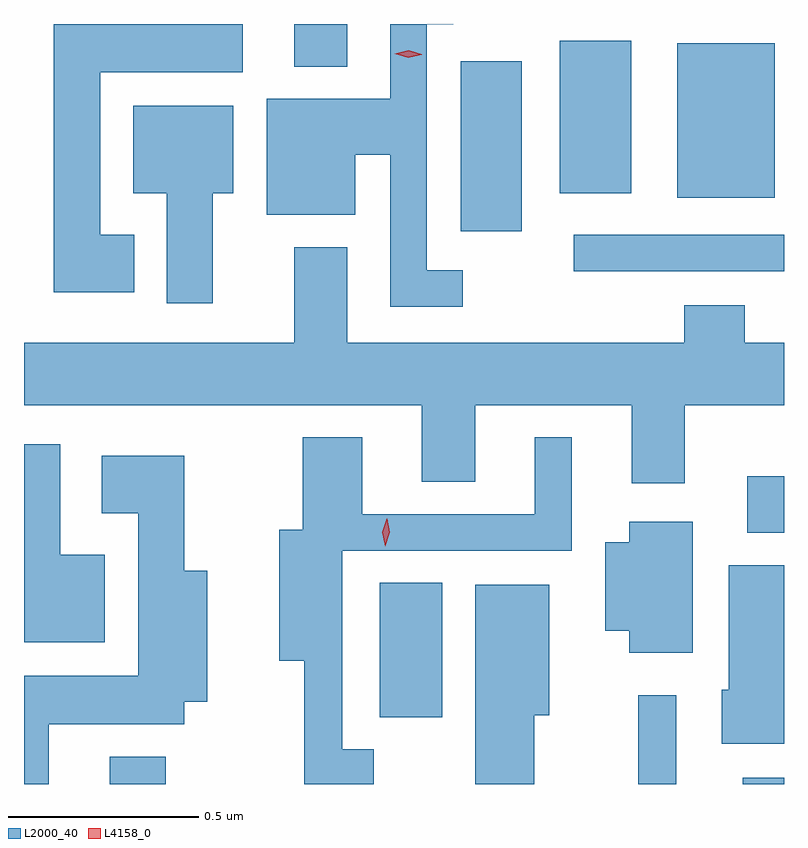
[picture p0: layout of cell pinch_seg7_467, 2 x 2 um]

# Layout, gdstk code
import gdstk
lib = gdstk.Library(unit=1e-6, precision=1e-09)
def R(c, l, rs):  # rectangles x0, y0, x1, y1
    for r in rs: c.add(gdstk.rectangle(r[:2], r[2:], *l))
def P(c, l, *ps):  # polygons
    for p in ps: c.add(gdstk.Polygon(p, *l))
L2000_40 = (2000, 40)
L4158_0 = (4158, 0)

pinch_seg7_467 = lib.new_cell('pinch_seg7_467')
R(pinch_seg7_467, L2000_40, [(264.077,1055.563,264.225,1055.635), (265.468,1055.563,265.569,1055.797), (265.743,1055.563,265.852,1055.58), (264.788,1055.739,264.952,1056.092), (265.755,1056.224,265.852,1056.373), (265.299,1056.912,265.852,1057.008), (265.001,1057.017,265.162,1057.465), (265.571,1057.106,265.828,1057.513), (265.262,1057.118,265.45,1057.519), (264.563,1057.451,264.703,1057.563)])
P(pinch_seg7_467, L2000_40, [(265.006,1056.915),(264.912,1056.915),(264.912,1057.562),(264.982,1057.562),(264.982,1057.563),(264.816,1057.563),(264.816,1057.366),(264.491,1057.366),(264.491,1057.061),(264.724,1057.061),(264.724,1057.219),(264.816,1057.219),(264.816,1056.819),(265.006,1056.819)],
  [(264.142,1057.009),(264.052,1057.009),(264.052,1057.436),(264.427,1057.436),(264.427,1057.563),(263.93,1057.563),(263.93,1056.857),(264.142,1056.857)],
  [(264.349,1057.118),(264.403,1057.118),(264.403,1057.348),(264.14,1057.348),(264.14,1057.118),(264.227,1057.118),(264.227,1056.828),(264.349,1056.828)],
  [(265.591,1056.56),(265.852,1056.56),(265.852,1056.724),(265.749,1056.724),(265.749,1056.823),(265.589,1056.823),(265.589,1056.724),(264.703,1056.724),(264.703,1056.976),(264.563,1056.976),(264.563,1056.724),(263.852,1056.724),(263.852,1056.56),(264.899,1056.56),(264.899,1056.358),(265.039,1056.358),(265.039,1056.56),(265.451,1056.56),(265.451,1056.354),(265.591,1056.354)],
  [(264.772,1055.655),(264.69,1055.655),(264.69,1056.177),(265.294,1056.177),(265.294,1056.475),(265.196,1056.475),(265.196,1056.273),(264.742,1056.273),(264.742,1056.475),(264.586,1056.475),(264.586,1056.232),(264.524,1056.232),(264.524,1055.888),(264.589,1055.888),(264.589,1055.563),(264.772,1055.563)],
  [(264.064,1056.166),(263.947,1056.166),(263.947,1056.457),(263.852,1056.457),(263.852,1055.936),(264.064,1055.936)],
  [(263.917,1055.72),(264.274,1055.72),(264.274,1055.78),(264.334,1055.78),(264.334,1056.124),(264.274,1056.124),(264.274,1056.427),(264.057,1056.427),(264.057,1056.275),(264.152,1056.275),(264.152,1055.848),(263.852,1055.848),(263.852,1055.563),(263.917,1055.563)],
  [(265.612,1056.253),(265.445,1056.253),(265.445,1056.199),(265.382,1056.199),(265.382,1055.966),(265.445,1055.966),(265.445,1055.909),(265.612,1055.909)],
  [(265.852,1056.139),(265.706,1056.139),(265.706,1055.811),(265.688,1055.811),(265.688,1055.669),(265.852,1055.669)],
  [(265.195,1055.744),(265.234,1055.744),(265.234,1056.088),(265.04,1056.088),(265.04,1055.563),(265.195,1055.563)])
P(pinch_seg7_467, L4158_0, [(264.863,1057.474),(264.828,1057.485),(264.828,1057.485),(264.828,1057.485),(264.864,1057.494),(264.899,1057.483),(264.899,1057.482),(264.899,1057.482)],
  [(264.803,1056.189),(264.803,1056.189),(264.795,1056.226),(264.807,1056.261),(264.807,1056.261),(264.808,1056.261),(264.815,1056.225),(264.803,1056.189)])

lib.write_gds('pinch_seg7_467.gds')
